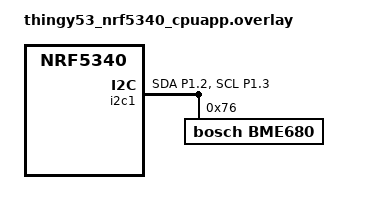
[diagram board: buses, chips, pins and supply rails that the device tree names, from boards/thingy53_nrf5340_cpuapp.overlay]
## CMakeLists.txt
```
#
# Copyright (c) 2020 Nordic Semiconductor ASA
#
# SPDX-License-Identifier: LicenseRef-Nordic-5-Clause
#
cmake_minimum_required(VERSION 3.20.0)

find_package(Zephyr REQUIRED HINTS $ENV{ZEPHYR_BASE})
project(bluetooth_mesh_sensor_server)

# NORDIC SDK APP START
target_sources(app PRIVATE
  src/main.c
  src/model_handler.c
)
target_include_directories(app PRIVATE include)

# NORDIC SDK APP END
```

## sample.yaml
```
sample:
  description: Bluetooth Mesh sensor sample
  name: Bluetooth Mesh sensor
common:
  tags:
    - bluetooth
    - ci_build
    - sysbuild
    - ci_samples_bluetooth
tests:
  sample.bluetooth.mesh.sensor_server:
    sysbuild: true
    build_only: true
    integration_platforms:
      - nrf54l15dk/nrf54l15/cpuapp
    platform_allow:
      - nrf54l15dk/nrf54l15/cpuapp
      - nrf54l15dk/nrf54l10/cpuapp
      - nrf54l15dk/nrf54l05/cpuapp
      - nrf54lc10dk/nrf54lc10a/cpuapp
      - nrf54lm20dk/nrf54lm20a/cpuapp
      - nrf54lm20dk/nrf54lm20a/cpuapp/ite
  sample.bluetooth.mesh.sensor_server.settings_ext_flash:
    sysbuild: true
    build_only: true
    integration_platforms:
      - nrf54l15dk/nrf54l15/cpuapp
    platform_allow:
      - nrf54l15dk/nrf54l15/cpuapp
      - nrf54l15dk/nrf54l10/cpuapp
      - nrf54l15dk/nrf54l05/cpuapp
    extra_args: FILE_SUFFIX=settings_ext_flash
```

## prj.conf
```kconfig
#
# Copyright (c) 2020 Nordic Semiconductor ASA
#
# SPDX-License-Identifier: LicenseRef-Nordic-5-Clause
#
CONFIG_NCS_SAMPLES_DEFAULTS=y

# Deferred logging helps improve LPN power consumption
# when friendship is established.
CONFIG_LOG_MODE_DEFERRED=y

# General configuration
CONFIG_NCS_APPLICATION_BOOT_BANNER_STRING="Mesh Sensor"
CONFIG_SYSTEM_WORKQUEUE_STACK_SIZE=2048
CONFIG_FLASH=y
CONFIG_FLASH_MAP=y
CONFIG_NVS=y
CONFIG_NVS_LOOKUP_CACHE=y
CONFIG_SETTINGS=y
CONFIG_SETTINGS_NVS_NAME_CACHE=y
CONFIG_HWINFO=y
CONFIG_DK_LIBRARY=y
CONFIG_SOC_FLASH_NRF_PARTIAL_ERASE=y
CONFIG_BT_MESH_NODE_RESET_BUTTON=y
CONFIG_FPU=y
CONFIG_CBPRINTF_FP_SUPPORT=y

# Temperature sensor
CONFIG_SENSOR=y
CONFIG_TEMP_NRF5=y

# Bluetooth configuration
CONFIG_BT=y
CONFIG_BT_DEVICE_NAME="Mesh Sensor"
CONFIG_BT_L2CAP_TX_BUF_COUNT=8
CONFIG_BT_OBSERVER=y
CONFIG_BT_PERIPHERAL=y
CONFIG_BT_SETTINGS=y

# Disable unused Bluetooth features
CONFIG_BT_CTLR_LE_ENC=n
CONFIG_BT_PHY_UPDATE=n
CONFIG_BT_CTLR_CHAN_SEL_2=n
CONFIG_BT_CTLR_MIN_USED_CHAN=n
CONFIG_BT_CTLR_PRIVACY=n

# Bluetooth Mesh configuration
CONFIG_BT_MESH=y
CONFIG_BT_MESH_RELAY=y
CONFIG_BT_MESH_FRIEND=y
CONFIG_BT_MESH_TX_SEG_MAX=10
CONFIG_BT_MESH_PB_GATT=y
CONFIG_BT_MESH_GATT_PROXY=y
CONFIG_BT_MESH_PROXY_USE_DEVICE_NAME=y
CONFIG_BT_MESH_DK_PROV=y
CONFIG_BT_MESH_NLC_PERF_AMBIENT_LIGHT_SENSOR=y
CONFIG_BT_MESH_NLC_PERF_OCCUPANCY_SENSOR=y
CONFIG_BT_MESH_MODEL_EXTENSIONS=y
CONFIG_BT_MESH_MODEL_EXTENSION_LIST_SIZE=10
# Enabling NLC Ambient Light Sensor profile enables support for 3 application keys by
# default. Therefore, allow up to 3 application key bindings per model instance.
CONFIG_BT_MESH_MODEL_KEY_COUNT=3

# Bluetooth Mesh models
CONFIG_BT_MESH_SENSOR_SRV=y
CONFIG_BT_MESH_SENSOR_SRV_SENSORS_MAX=5

# Increase default delayable message config to avoid insufficient resources
# during normal sample operation
CONFIG_BT_MESH_ACCESS_DELAYABLE_MSG_CHUNK_SIZE=12
CONFIG_BT_MESH_ACCESS_DELAYABLE_MSG_CHUNK_COUNT=60
CONFIG_BT_MESH_TX_SEG_MSG_COUNT=3
CONFIG_BT_MESH_ACCESS_DELAYABLE_MSG_COUNT=10

# Debugging
CONFIG_BT_MESH_LOG_LEVEL_DBG=y
CONFIG_BT_MESH_PROVISIONEE_LOG_LEVEL_INF=y

CONFIG_LTO=y
CONFIG_ISR_TABLES_LOCAL_DECLARATION=y
```

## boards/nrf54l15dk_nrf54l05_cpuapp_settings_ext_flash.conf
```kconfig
#
# Copyright (c) 2025 Nordic Semiconductor ASA
#
# SPDX-License-Identifier: LicenseRef-Nordic-5-Clause
#
################################################################################
# Application overlay - nrf54l05

CONFIG_SOC_FLASH_NRF_PARTIAL_ERASE=n
CONFIG_NVS=n
CONFIG_NVS_LOOKUP_CACHE=n
CONFIG_SETTINGS_NVS_NAME_CACHE=n
CONFIG_ZMS=y
CONFIG_SETTINGS_ZMS_CUSTOM_SECTOR_COUNT=y
CONFIG_SETTINGS_ZMS_SECTOR_COUNT=8
CONFIG_ZMS_LOOKUP_CACHE=y
CONFIG_ZMS_LOOKUP_CACHE_SIZE=512
CONFIG_ZMS_LOOKUP_CACHE_FOR_SETTINGS=y
CONFIG_SYSTEM_WORKQUEUE_STACK_SIZE=4096
CONFIG_BT_RX_STACK_SIZE=5120
CONFIG_BT_MESH_SETTINGS_WORKQ_STACK_SIZE=1800

# External flash specific settings
CONFIG_GPIO=y
CONFIG_SPI=y
CONFIG_SPI_NOR=y
CONFIG_SPI_NOR_SFDP_DEVICETREE=y
CONFIG_SPI_NOR_FLASH_LAYOUT_PAGE_SIZE=4096
# QSPI drivers are enabled by default for some chips.
# Disable it explicitly to be sure QSPI is disabled.
CONFIG_NORDIC_QSPI_NOR=n
```

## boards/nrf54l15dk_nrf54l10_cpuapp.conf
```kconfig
#
# Copyright (c) 2024 Nordic Semiconductor ASA
#
# SPDX-License-Identifier: LicenseRef-Nordic-5-Clause
#
################################################################################
# Application overlay - nrf54l10

CONFIG_SOC_FLASH_NRF_PARTIAL_ERASE=n
CONFIG_NVS=n
CONFIG_NVS_LOOKUP_CACHE=n
CONFIG_SETTINGS_NVS_NAME_CACHE=n
CONFIG_ZMS=y
CONFIG_SETTINGS_ZMS_SECTOR_COUNT=8
CONFIG_ZMS_LOOKUP_CACHE=y
CONFIG_ZMS_LOOKUP_CACHE_SIZE=512
CONFIG_SETTINGS_ZMS_NAME_CACHE=y
CONFIG_SETTINGS_ZMS_NAME_CACHE_SIZE=512
CONFIG_ZMS_LOOKUP_CACHE_FOR_SETTINGS=y
CONFIG_SYSTEM_WORKQUEUE_STACK_SIZE=4096
CONFIG_BT_RX_STACK_SIZE=5120
```

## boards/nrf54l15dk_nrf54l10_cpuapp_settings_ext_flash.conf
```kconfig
#
# Copyright (c) 2025 Nordic Semiconductor ASA
#
# SPDX-License-Identifier: LicenseRef-Nordic-5-Clause
#
################################################################################
# Application overlay - nrf54l10

CONFIG_SOC_FLASH_NRF_PARTIAL_ERASE=n
CONFIG_NVS=n
CONFIG_NVS_LOOKUP_CACHE=n
CONFIG_SETTINGS_NVS_NAME_CACHE=n
CONFIG_ZMS=y
CONFIG_SETTINGS_ZMS_CUSTOM_SECTOR_COUNT=y
CONFIG_SETTINGS_ZMS_SECTOR_COUNT=8
CONFIG_ZMS_LOOKUP_CACHE=y
CONFIG_ZMS_LOOKUP_CACHE_SIZE=512
CONFIG_ZMS_LOOKUP_CACHE_FOR_SETTINGS=y
CONFIG_SYSTEM_WORKQUEUE_STACK_SIZE=4096
CONFIG_BT_RX_STACK_SIZE=5120
CONFIG_BT_MESH_SETTINGS_WORKQ_STACK_SIZE=1800

# External flash specific settings
CONFIG_GPIO=y
CONFIG_SPI=y
CONFIG_SPI_NOR=y
CONFIG_SPI_NOR_SFDP_DEVICETREE=y
CONFIG_SPI_NOR_FLASH_LAYOUT_PAGE_SIZE=4096
# QSPI drivers are enabled by default for some chips.
# Disable it explicitly to be sure QSPI is disabled.
CONFIG_NORDIC_QSPI_NOR=n

# Relocate settings partition to external flash
CONFIG_PM_PARTITION_REGION_SETTINGS_STORAGE_EXTERNAL=y
CONFIG_PM_PARTITION_SIZE_SETTINGS_STORAGE=0x8000
```

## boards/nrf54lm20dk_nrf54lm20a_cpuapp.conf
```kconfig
#
# Copyright (c) 2025 Nordic Semiconductor ASA
#
# SPDX-License-Identifier: LicenseRef-Nordic-5-Clause
#
################################################################################
# Application overlay - nrf54lm20a

CONFIG_SOC_FLASH_NRF_PARTIAL_ERASE=n
CONFIG_NVS=n
CONFIG_NVS_LOOKUP_CACHE=n
CONFIG_SETTINGS_NVS_NAME_CACHE=n
CONFIG_ZMS=y
CONFIG_SETTINGS_ZMS_CUSTOM_SECTOR_COUNT=y
CONFIG_SETTINGS_ZMS_SECTOR_COUNT=8
CONFIG_ZMS_LOOKUP_CACHE=y
CONFIG_ZMS_LOOKUP_CACHE_SIZE=512
CONFIG_ZMS_LOOKUP_CACHE_FOR_SETTINGS=y
CONFIG_SYSTEM_WORKQUEUE_STACK_SIZE=4096
CONFIG_BT_RX_STACK_SIZE=5120
```

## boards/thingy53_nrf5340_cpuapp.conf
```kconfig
#
# Copyright (c) 2021 Nordic Semiconductor ASA
#
# SPDX-License-Identifier: LicenseRef-Nordic-5-Clause
#
################################################################################
# Application overlay - Thingy:53 DFU

CONFIG_NCS_SAMPLE_MCUMGR_BT_OTA_DFU=y
CONFIG_NCS_SAMPLE_MCUMGR_BT_OTA_DFU_SPEEDUP=y

CONFIG_SYSTEM_WORKQUEUE_STACK_SIZE=4096

# Use deferred logging
CONFIG_NCS_SAMPLES_DEFAULTS=n
CONFIG_LOG=y
CONFIG_ASSERT=y
CONFIG_ASSERT_NO_COND_INFO=y
CONFIG_ASSERT_NO_MSG_INFO=y
CONFIG_HW_STACK_PROTECTION=y

################################################################################
# Sensor configuration

# Enable Temprature Sensor
CONFIG_BME680=y

# Disable nRF5 sensor
CONFIG_TEMP_NRF5=n
```

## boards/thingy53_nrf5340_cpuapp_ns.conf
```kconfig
#
# Copyright (c) 2021 Nordic Semiconductor ASA
#
# SPDX-License-Identifier: LicenseRef-Nordic-5-Clause
#
################################################################################
# Application overlay - Thingy:53 DFU

CONFIG_MCUMGR=y
CONFIG_MCUMGR_TRANSPORT_BT=y
CONFIG_MCUMGR_TRANSPORT_BT_AUTHEN=n
CONFIG_MCUMGR_TRANSPORT_BT_CONN_PARAM_CONTROL=y

CONFIG_MCUMGR_GRP_IMG=y
CONFIG_MCUMGR_GRP_OS=y

# Enable MCUmgr Packet Reassembly feature over Bluetooth and its
# configuration dependencies. MCUmgr buffer size is optimized to fit one SMP
# packet divided into five Bluetooth Write Commands, transmitted with the
# maximum possible MTU value: 498 bytes.
CONFIG_MCUMGR_TRANSPORT_BT_REASSEMBLY=y
CONFIG_MCUMGR_TRANSPORT_NETBUF_SIZE=2475
CONFIG_MCUMGR_GRP_OS_MCUMGR_PARAMS=y

# Enable custom SMP request to erase settings partition.
CONFIG_MCUMGR_GRP_ZBASIC=y
CONFIG_MCUMGR_GRP_ZBASIC_STORAGE_ERASE=y

# Increase system workqueue stack size to prevent stack overflows while handling
# SMP requests.
CONFIG_SYSTEM_WORKQUEUE_STACK_SIZE=4096

CONFIG_BT_L2CAP_TX_MTU=498
CONFIG_BT_BUF_ACL_TX_SIZE=251
CONFIG_BT_BUF_ACL_RX_SIZE=502

# Use connection parameters that ensure quick data transfer
CONFIG_BT_PERIPHERAL_PREF_MIN_INT=6
CONFIG_BT_PERIPHERAL_PREF_MAX_INT=6
CONFIG_BT_PERIPHERAL_PREF_LATENCY=99
CONFIG_BT_PERIPHERAL_PREF_TIMEOUT=400

# Use deferred logging
CONFIG_NCS_SAMPLES_DEFAULTS=n
CONFIG_LOG=y
CONFIG_ASSERT=y
CONFIG_ASSERT_NO_COND_INFO=y
CONFIG_ASSERT_NO_MSG_INFO=y
CONFIG_HW_STACK_PROTECTION=y

################################################################################
# Bootloader configuration

CONFIG_BOOTLOADER_MCUBOOT=y
CONFIG_MCUBOOT_IMAGE_VERSION="2.0.0+0"
CONFIG_UPDATEABLE_IMAGE_NUMBER=2

CONFIG_IMG_MANAGER=y
CONFIG_MCUBOOT_IMG_MANAGER=y
CONFIG_IMG_ERASE_PROGRESSIVELY=y

################################################################################
# External flash configuration

CONFIG_NORDIC_QSPI_NOR=y
CONFIG_NORDIC_QSPI_NOR_FLASH_LAYOUT_PAGE_SIZE=4096
CONFIG_NORDIC_QSPI_NOR_STACK_WRITE_BUFFER_SIZE=16

################################################################################
# Sensor configuration

# Enable Temprature Sensor
CONFIG_BME680=y

# Disable nRF5 sensor
CONFIG_TEMP_NRF5=n
```

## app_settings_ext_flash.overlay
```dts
/* Copyright (c) 2025 Nordic Semiconductor ASA
 *
 * SPDX-License-Identifier: LicenseRef-Nordic-5-Clause
 */

/ {
	chosen {
		nordic,pm-ext-flash = &mx25r64;
	};
};

&mx25r64 {
	status = "okay";
};
```

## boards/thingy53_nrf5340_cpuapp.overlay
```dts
/*
 * Copyright (c) 2021-2022 Nordic Semiconductor ASA
 *
 * SPDX-License-Identifier: LicenseRef-Nordic-5-Clause
 */

i2c1: &i2c1 {
	compatible = "nordic,nrf-twim";
	status = "okay";

	pinctrl-0 = <&i2c1_default_alt_alt>;
	pinctrl-1 = <&i2c1_sleep_alt_alt>;
	pinctrl-names = "default", "sleep";

	bme680: bme680@76 {
		compatible = "bosch,bme680";
		reg = <0x76>;
	};
};

&pinctrl {
	i2c1_default_alt_alt: i2c1_default_alt_alt {
		group1 {
			psels = <NRF_PSEL(TWIM_SDA, 1, 2)>,
				<NRF_PSEL(TWIM_SCL, 1, 3)>;
		};
	};

	i2c1_sleep_alt_alt: i2c1_sleep_alt_alt {
		group1 {
			psels = <NRF_PSEL(TWIM_SDA, 1, 2)>,
				<NRF_PSEL(TWIM_SCL, 1, 3)>;
			low-power-enable;
		};
	};
};
```

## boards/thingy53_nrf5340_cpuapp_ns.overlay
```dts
/*
 * Copyright (c) 2021-2022 Nordic Semiconductor ASA
 *
 * SPDX-License-Identifier: LicenseRef-Nordic-5-Clause
 */

/ {
	chosen {
		zephyr,console = &cdc_acm_uart0;
	};
};

&zephyr_udc0 {
	cdc_acm_uart0: cdc_acm_uart0 {
		compatible = "zephyr,cdc-acm-uart";
	};
};

i2c1: &i2c1 {
	compatible = "nordic,nrf-twim";
	status = "okay";

	pinctrl-0 = <&i2c1_default_alt_alt>;
	pinctrl-1 = <&i2c1_sleep_alt_alt>;
	pinctrl-names = "default", "sleep";
	bme680: bme680@76 {
		compatible = "bosch,bme680";
		reg = <0x76>;
	};
};

&pinctrl {
	i2c1_default_alt_alt: i2c1_default_alt_alt {
		group1 {
			psels = <NRF_PSEL(TWIM_SDA, 1, 2)>,
				<NRF_PSEL(TWIM_SCL, 1, 3)>;
		};
	};

	i2c1_sleep_alt_alt: i2c1_sleep_alt_alt {
		group1 {
			psels = <NRF_PSEL(TWIM_SDA, 1, 2)>,
				<NRF_PSEL(TWIM_SCL, 1, 3)>;
			low-power-enable;
		};
	};

};
```

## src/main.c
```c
/*
 * Copyright (c) 2020 Nordic Semiconductor ASA
 *
 * SPDX-License-Identifier: LicenseRef-Nordic-5-Clause
 */

/** @file
 *  @brief Nordic mesh sensor sample
 */
#include <zephyr/bluetooth/bluetooth.h>
#include <bluetooth/mesh/models.h>
#include <bluetooth/mesh/dk_prov.h>
#include <dk_buttons_and_leds.h>
#include <bluetooth/mesh/node_reset_button.h>
#include "model_handler.h"

static void bt_ready(int err)
{
	if (err) {
		printk("Bluetooth init failed (err %d)\n", err);
		return;
	}

	printk("Bluetooth initialized\n");

	err = dk_leds_init();
	if (err) {
		printk("Initializing LEDs failed (err %d)\n", err);
		return;
	}

	err = dk_buttons_init(NULL);
	if (err) {
		printk("Initializing buttons failed (err %d)\n", err);
		return;
	}

	if (IS_ENABLED(CONFIG_BT_MESH_NODE_RESET_BUTTON)) {
		bt_mesh_node_reset_button_init();
	}

	err = bt_mesh_init(bt_mesh_dk_prov_init(), model_handler_init());
	if (err) {
		printk("Initializing mesh failed (err %d)\n", err);
		return;
	}

	if (IS_ENABLED(CONFIG_SETTINGS)) {
		settings_load();
	}

	/* This will be a no-op if settings_load() loaded provisioning info */
	bt_mesh_prov_enable(BT_MESH_PROV_ADV | BT_MESH_PROV_GATT);

	printk("Mesh initialized\n");
}

int main(void)
{
	int err;

	printk("Initializing...\n");

	err = bt_enable(bt_ready);
	if (err) {
		printk("Bluetooth init failed (err %d)\n", err);
	}

	return 0;
}
```
